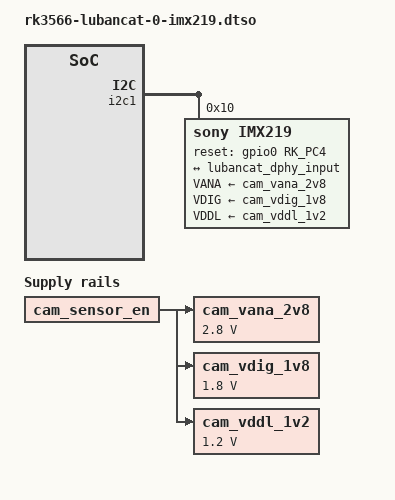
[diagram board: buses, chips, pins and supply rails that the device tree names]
// SPDX-License-Identifier: (GPL-2.0+ OR MIT)
/*
 * Raspberry Pi Camera Module V2 (IMX219) overlay for LubanCat Zero W.
 */

/dts-v1/;
/plugin/;

#include <dt-bindings/gpio/gpio.h>
#include <dt-bindings/media/video-interfaces.h>
#include <dt-bindings/pinctrl/rockchip.h>

&{/} {
	imx219_clk: clock-imx219 {
		compatible = "fixed-clock";
		#clock-cells = <0>;
		clock-frequency = <24000000>;
		clock-output-names = "imx219_xclk";
	};

	cam_vana_2v8: regulator-camera-vana {
		compatible = "regulator-fixed";
		regulator-name = "cam_vana_2v8";
		regulator-min-microvolt = <2800000>;
		regulator-max-microvolt = <2800000>;
		vin-supply = <&cam_sensor_en>;
	};

	cam_vdig_1v8: regulator-camera-vdig {
		compatible = "regulator-fixed";
		regulator-name = "cam_vdig_1v8";
		regulator-min-microvolt = <1800000>;
		regulator-max-microvolt = <1800000>;
		vin-supply = <&cam_sensor_en>;
	};

	cam_vddl_1v2: regulator-camera-vddl {
		compatible = "regulator-fixed";
		regulator-name = "cam_vddl_1v2";
		regulator-min-microvolt = <1200000>;
		regulator-max-microvolt = <1200000>;
		vin-supply = <&cam_sensor_en>;
	};
};

&imx415 {
	status = "disabled";
};

/*
 * The LubanCat-to-Raspberry-Pi adapter routes CAM_PWDN to CAM_IO0.
 * Raspberry Pi Camera Module V2 uses CAM_IO0 as an active-high power enable,
 * unlike the active-low enable expected by the IMX415 module.
 */
&cam_sensor_en {
	enable-active-high;
	gpio = <&gpio0 RK_PC3 GPIO_ACTIVE_HIGH>;
};

&i2c1 {
	#address-cells = <1>;
	#size-cells = <0>;

	imx219: camera@10 {
		compatible = "sony,imx219";
		reg = <0x10>;
		clocks = <&imx219_clk>;
		VANA-supply = <&cam_vana_2v8>;
		VDIG-supply = <&cam_vdig_1v8>;
		VDDL-supply = <&cam_vddl_1v2>;
		pinctrl-names = "default";
		pinctrl-0 = <&cam_reset>;
		reset-gpios = <&gpio0 RK_PC4 GPIO_ACTIVE_HIGH>;
		port {
			imx219_out: endpoint {
				bus-type = <MEDIA_BUS_TYPE_CSI2_DPHY>;
				clock-noncontinuous;
				data-lanes = <1 2>;
				link-frequencies = /bits/ 64 <456000000>;
				remote-endpoint = <&lubancat_dphy_input>;
			};
		};
	};
};

&lubancat_dphy_input {
	clock-noncontinuous;
	remote-endpoint = <&imx219_out>;
};

&rkisp {
	max-input = <3280 2464 15>;
};
